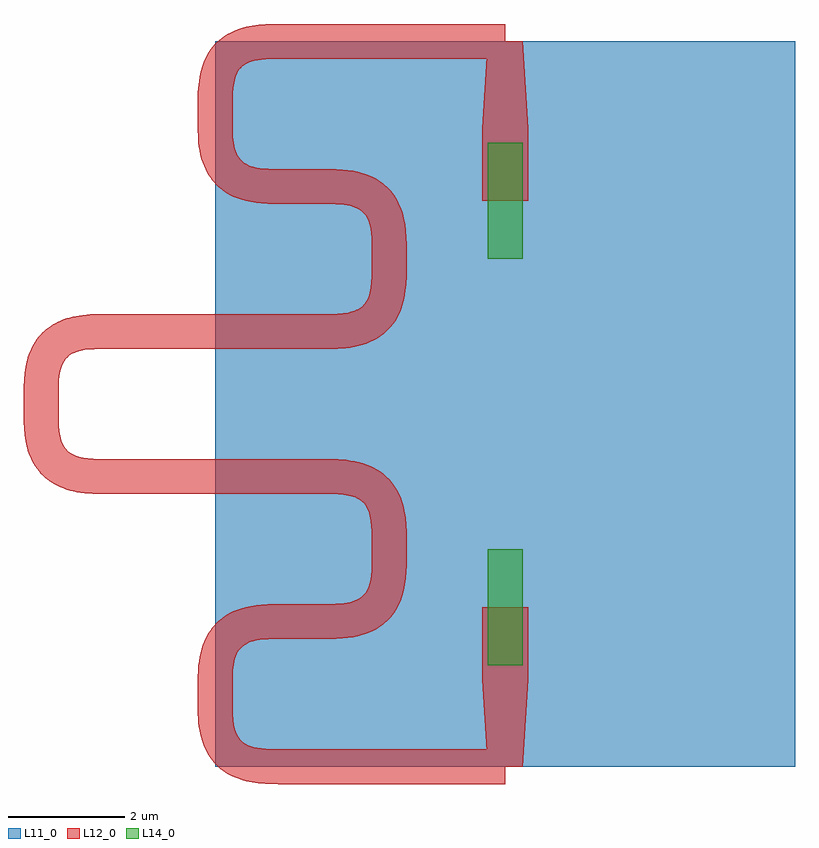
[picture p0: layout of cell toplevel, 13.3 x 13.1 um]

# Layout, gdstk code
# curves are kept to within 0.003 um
import gdstk
lib = gdstk.Library(unit=1e-6, precision=1e-09)
def R(c, l, rs):  # rectangles x0, y0, x1, y1
    for r in rs: c.add(gdstk.rectangle(r[:2], r[2:], *l))
def P(c, l, *ps):  # polygons
    for p in ps: c.add(gdstk.Polygon(p, *l))
L11_0 = (11, 0)
L12_0 = (12, 0)
L14_0 = (14, 0)

toplevel = lib.new_cell('toplevel')
R(toplevel, L11_0, [(-5,-12.5,5,0)])
R(toplevel, L12_0, [(-0.4,-11,0.4,-9.75), (-0.4,-2.75,0.4,-1.5)])
P(toplevel, L12_0, [(0,0.3),(-3.915,0.3),(-4.13,0.296),(-4.251,0.287),(-4.358,0.272),(-4.461,0.251),(-4.553,0.226),(-4.645,0.192),(-4.73,0.153),(-4.814,0.106),(-4.93,0.019),(-5.003,-0.052),(-5.039,-0.093),(-5.106,-0.186),(-5.16,-0.283),(-5.205,-0.388),(-5.241,-0.5),(-5.268,-0.617),(-5.286,-0.743),(-5.297,-0.888),(-5.299,-1.525),(-5.288,-1.738),(-5.268,-1.883),(-5.253,-1.955),(-5.215,-2.086),(-5.192,-2.145),(-5.166,-2.204),(-5.11,-2.308),(-5.048,-2.394),(-4.982,-2.47),(-4.912,-2.534),(-4.827,-2.597),(-4.737,-2.65),(-4.639,-2.695),(-4.474,-2.748),(-4.39,-2.767),(-4.294,-2.782),(-4.094,-2.797),(-3.025,-2.8),(-2.833,-2.808),(-2.721,-2.823),(-2.625,-2.847),(-2.543,-2.881),(-2.475,-2.925),(-2.439,-2.958),(-2.407,-2.998),(-2.379,-3.046),(-2.355,-3.102),(-2.322,-3.229),(-2.304,-3.386),(-2.3,-3.53),(-2.302,-4.053),(-2.317,-4.243),(-2.334,-4.329),(-2.356,-4.402),(-2.387,-4.468),(-2.419,-4.519),(-2.458,-4.561),(-2.505,-4.598),(-2.595,-4.642),(-2.705,-4.674),(-2.79,-4.687),(-2.971,-4.699),(-7.009,-4.701),(-7.153,-4.706),(-7.339,-4.725),(-7.507,-4.76),(-7.658,-4.813),(-7.788,-4.879),(-7.907,-4.961),(-7.976,-5.024),(-8.072,-5.136),(-8.15,-5.263),(-8.21,-5.401),(-8.241,-5.5),(-8.265,-5.604),(-8.282,-5.712),(-8.299,-5.952),(-8.3,-6.442),(-8.293,-6.671),(-8.275,-6.839),(-8.254,-6.948),(-8.226,-7.053),(-8.172,-7.191),(-8.097,-7.327),(-8.034,-7.412),(-7.93,-7.519),(-7.852,-7.58),(-7.763,-7.636),(-7.665,-7.684),(-7.559,-7.724),(-7.383,-7.768),(-7.251,-7.787),(-7.106,-7.797),(-3.086,-7.8),(-2.877,-7.805),(-2.782,-7.814),(-2.698,-7.828),(-2.622,-7.848),(-2.529,-7.888),(-2.477,-7.923),(-2.434,-7.964),(-2.399,-8.011),(-2.368,-8.07),(-2.333,-8.175),(-2.316,-8.261),(-2.306,-8.355),(-2.3,-8.57),(-2.3,-8.97),(-2.305,-9.118),(-2.322,-9.275),(-2.356,-9.402),(-2.379,-9.454),(-2.407,-9.502),(-2.439,-9.542),(-2.475,-9.575),(-2.543,-9.619),(-2.625,-9.653),(-2.721,-9.677),(-2.833,-9.692),(-3.025,-9.7),(-4.094,-9.703),(-4.294,-9.718),(-4.39,-9.733),(-4.474,-9.752),(-4.586,-9.785),(-4.685,-9.825),(-4.782,-9.875),(-4.87,-9.933),(-4.948,-9.997),(-5.019,-10.07),(-5.11,-10.192),(-5.163,-10.289),(-5.213,-10.408),(-5.251,-10.539),(-5.278,-10.68),(-5.295,-10.852),(-5.299,-10.963),(-5.297,-11.589),(-5.279,-11.813),(-5.243,-11.994),(-5.208,-12.106),(-5.163,-12.211),(-5.11,-12.308),(-5.014,-12.436),(-4.901,-12.544),(-4.827,-12.597),(-4.704,-12.666),(-4.566,-12.722),(-4.468,-12.75),(-4.364,-12.771),(-4.257,-12.786),(-4.037,-12.799),(0,-12.8),(0,-12.2),(-3.899,-12.2),(-4.132,-12.195),(-4.206,-12.188),(-4.332,-12.165),(-4.439,-12.128),(-4.484,-12.104),(-4.546,-12.057),(-4.586,-12.012),(-4.621,-11.954),(-4.647,-11.892),(-4.678,-11.775),(-4.69,-11.689),(-4.697,-11.586),(-4.7,-11.07),(-4.693,-10.842),(-4.671,-10.69),(-4.644,-10.598),(-4.627,-10.558),(-4.584,-10.486),(-4.561,-10.458),(-4.502,-10.407),(-4.427,-10.367),(-4.385,-10.35),(-4.287,-10.325),(-4.172,-10.309),(-3.975,-10.3),(-2.911,-10.297),(-2.804,-10.292),(-2.712,-10.282),(-2.539,-10.251),(-2.434,-10.222),(-2.335,-10.184),(-2.244,-10.14),(-2.155,-10.085),(-2.041,-9.993),(-1.976,-9.924),(-1.915,-9.845),(-1.843,-9.724),(-1.805,-9.639),(-1.774,-9.553),(-1.749,-9.461),(-1.729,-9.364),(-1.714,-9.257),(-1.705,-9.148),(-1.7,-8.596),(-1.706,-8.335),(-1.717,-8.218),(-1.737,-8.091),(-1.766,-7.973),(-1.805,-7.861),(-1.853,-7.757),(-1.92,-7.648),(-1.961,-7.593),(-2.047,-7.502),(-2.148,-7.42),(-2.263,-7.35),(-2.388,-7.295),(-2.454,-7.272),(-2.591,-7.237),(-2.743,-7.214),(-2.882,-7.204),(-3.058,-7.2),(-6.99,-7.2),(-7.193,-7.189),(-7.275,-7.178),(-7.405,-7.142),(-7.502,-7.093),(-7.542,-7.061),(-7.575,-7.025),(-7.604,-6.984),(-7.65,-6.885),(-7.678,-6.771),(-7.688,-6.706),(-7.698,-6.563),(-7.7,-6.005),(-7.693,-5.842),(-7.685,-5.773),(-7.675,-5.709),(-7.645,-5.602),(-7.624,-5.552),(-7.574,-5.472),(-7.512,-5.414),(-7.471,-5.388),(-7.424,-5.365),(-7.317,-5.331),(-7.172,-5.309),(-6.98,-5.3),(-2.888,-5.297),(-2.674,-5.277),(-2.597,-5.264),(-2.46,-5.23),(-2.394,-5.208),(-2.27,-5.153),(-2.155,-5.085),(-2.106,-5.048),(-2.013,-4.965),(-1.971,-4.918),(-1.899,-4.82),(-1.837,-4.711),(-1.792,-4.606),(-1.755,-4.487),(-1.719,-4.301),(-1.701,-4.048),(-1.7,-3.921),(-1.7,-3.508),(-1.712,-3.262),(-1.726,-3.155),(-1.746,-3.052),(-1.77,-2.96),(-1.802,-2.868),(-1.864,-2.737),(-1.915,-2.655),(-2.007,-2.541),(-2.076,-2.476),(-2.155,-2.415),(-2.244,-2.36),(-2.335,-2.316),(-2.434,-2.278),(-2.539,-2.249),(-2.712,-2.218),(-2.804,-2.208),(-2.911,-2.203),(-3.975,-2.2),(-4.172,-2.191),(-4.287,-2.175),(-4.385,-2.15),(-4.468,-2.113),(-4.504,-2.091),(-4.563,-2.04),(-4.588,-2.009),(-4.629,-1.936),(-4.646,-1.895),(-4.672,-1.802),(-4.693,-1.65),(-4.699,-1.534),(-4.7,-1.015),(-4.696,-0.895),(-4.688,-0.798),(-4.675,-0.713),(-4.645,-0.602),(-4.599,-0.508),(-4.563,-0.46),(-4.519,-0.419),(-4.479,-0.393),(-4.385,-0.35),(-4.329,-0.334),(-4.267,-0.321),(-4.127,-0.305),(-3.899,-0.3),(0,-0.3)],
  [(0.3,0),(0.4,-1.5),(-0.4,-1.5),(-0.3,0)],
  [(-0.3,-12.5),(-0.4,-11),(0.4,-11),(0.3,-12.5)])
R(toplevel, L14_0, [(-0.3,-10.75,0.3,-8.75), (-0.3,-3.75,0.3,-1.75)])

lib.write_gds('toplevel.gds')
